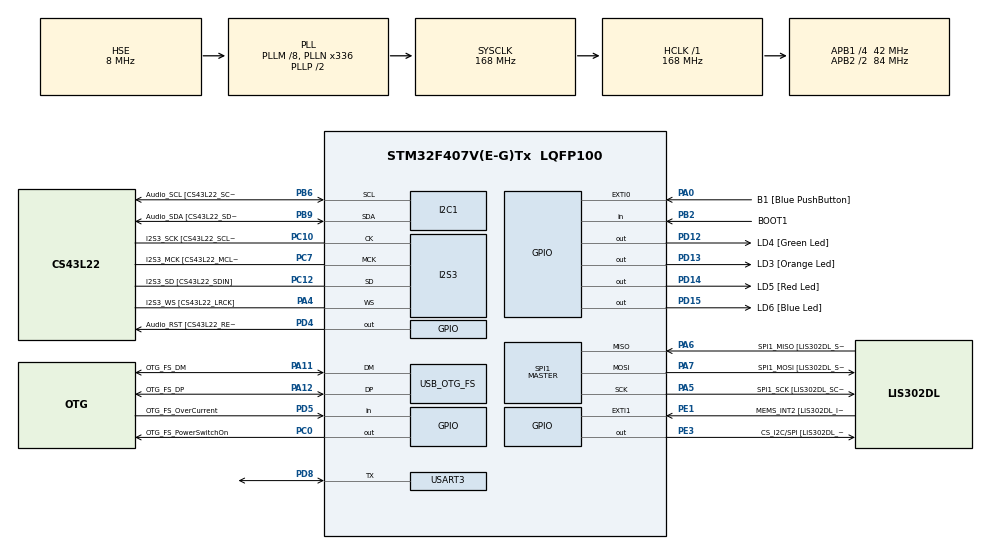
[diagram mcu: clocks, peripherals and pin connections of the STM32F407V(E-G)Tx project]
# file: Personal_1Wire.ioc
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Dma.Request0=USART3_RX
Dma.Request1=USART3_TX
Dma.USART3_RX.0.Direction=DMA_PERIPH_TO_MEMORY
Dma.USART3_RX.0.FIFOMode=DMA_FIFOMODE_DISABLE
Dma.USART3_RX.0.Instance=DMA1_Stream1
Dma.USART3_RX.0.MemDataAlignment=DMA_MDATAALIGN_BYTE
Dma.USART3_RX.0.MemInc=DMA_MINC_ENABLE
Dma.USART3_RX.0.Mode=DMA_NORMAL
Dma.USART3_RX.0.PeriphDataAlignment=DMA_PDATAALIGN_BYTE
Dma.USART3_RX.0.PeriphInc=DMA_PINC_DISABLE
Dma.USART3_RX.0.Priority=DMA_PRIORITY_LOW
Dma.USART3_TX.1.Direction=DMA_MEMORY_TO_PERIPH
Dma.USART3_TX.1.FIFOMode=DMA_FIFOMODE_DISABLE
Dma.USART3_TX.1.Instance=DMA1_Stream3
Dma.USART3_TX.1.MemDataAlignment=DMA_MDATAALIGN_BYTE
Dma.USART3_TX.1.MemInc=DMA_MINC_ENABLE
Dma.USART3_TX.1.Mode=DMA_NORMAL
Dma.USART3_TX.1.PeriphDataAlignment=DMA_PDATAALIGN_BYTE
Dma.USART3_TX.1.PeriphInc=DMA_PINC_DISABLE
Dma.USART3_TX.1.Priority=DMA_PRIORITY_LOW
FREERTOS.Tasks01=defaultTask,24,1024,StartDefaultTask,Default,NULL,Dynamic,NULL,NULL
FREERTOS.configUSE_NEWLIB_REENTRANT=1
I2S3.AudioFreq-Half_Duplex_Master=I2S_AUDIOFREQ_96K
I2S3.ErrorAudioFreq=-2.34 %
I2S3.ErrorAudioFreq-Half_Duplex_Master=0.8 %
I2S3.FullDuplexMode=I2S_FULLDUPLEXMODE_DISABLE
I2S3.Instance=SPI$Index
I2S3.RealAudioFreq=93.75 KHz
I2S3.RealAudioFreq-Half_Duplex_Master=96.774 KHz
I2S3.VirtualMode=I2S_MODE_MASTER
Mcu.Family=STM32F4
Mcu.Name=STM32F407V(E-G)Tx
Mcu.Package=LQFP100
NVIC.DMA1_Stream1_IRQn=true\:5\:0\:false\:false\:true\:true\:false\:true\:true
NVIC.DMA1_Stream3_IRQn=true\:5\:0\:false\:false\:true\:true\:false\:true\:true
NVIC.OTG_FS_IRQn=true\:5\:0\:true\:false\:true\:true\:true\:true\:true
NVIC.PriorityGroup=NVIC_PRIORITYGROUP_4
NVIC.TIM6_DAC_IRQn=true\:15\:0\:false\:false\:true\:false\:false\:true\:true
NVIC.TimeBase=TIM6_DAC_IRQn
NVIC.TimeBaseIP=TIM6
NVIC.USART3_IRQn=true\:5\:0\:false\:false\:true\:true\:true\:true\:true
PA0-WKUP.GPIO_Label=B1 [Blue PushButton]
PA0-WKUP.GPIO_ModeDefaultEXTI=GPIO_MODE_EVT_RISING
PA0-WKUP.GPIO_PuPd=GPIO_NOPULL
PA0-WKUP.Signal=GPXTI0
PA10.GPIO_Label=OTG_FS_ID
PA10.GPIO_Mode=GPIO_MODE_AF_PP
PA10.GPIO_PuPd=GPIO_NOPULL
PA10.GPIO_Speed=GPIO_SPEED_FREQ_LOW
PA10.Signal=USB_OTG_FS_ID
PA11.GPIO_Label=OTG_FS_DM
PA11.GPIO_Mode=GPIO_MODE_AF_PP
PA11.GPIO_PuPd=GPIO_NOPULL
PA11.GPIO_Speed=GPIO_SPEED_FREQ_LOW
PA11.Mode=Device_Only
PA11.Signal=USB_OTG_FS_DM
PA12.GPIO_Label=OTG_FS_DP
PA12.GPIO_Mode=GPIO_MODE_AF_PP
PA12.GPIO_PuPd=GPIO_NOPULL
PA12.GPIO_Speed=GPIO_SPEED_FREQ_LOW
PA12.Mode=Device_Only
PA12.Signal=USB_OTG_FS_DP
PA13.GPIO_Label=SWDIO
PA13.Mode=Serial_Wire
PA13.Signal=SYS_JTMS-SWDIO
PA14.GPIO_Label=SWCLK
PA14.Mode=Serial_Wire
PA14.Signal=SYS_JTCK-SWCLK
PA4.GPIO_Label=I2S3_WS [CS43L22_LRCK]
PA4.GPIO_Mode=GPIO_MODE_AF_PP
PA4.GPIO_PuPd=GPIO_NOPULL
PA4.GPIO_Speed=GPIO_SPEED_FREQ_LOW
PA4.Mode=Half_Duplex_Master
PA4.Signal=I2S3_WS
PA5.GPIO_Label=SPI1_SCK [LIS302DL_SCL/SPC]
PA5.GPIO_Mode=GPIO_MODE_AF_PP
PA5.GPIO_PuPd=GPIO_NOPULL
PA5.GPIO_Speed=GPIO_SPEED_FREQ_LOW
PA5.Mode=Full_Duplex_Master
PA5.Signal=SPI1_SCK
PA6.GPIO_Label=SPI1_MISO [LIS302DL_SDO]
PA6.GPIO_Mode=GPIO_MODE_AF_PP
PA6.GPIO_PuPd=GPIO_NOPULL
PA6.GPIO_Speed=GPIO_SPEED_FREQ_LOW
PA6.Mode=Full_Duplex_Master
PA6.Signal=SPI1_MISO
PA7.GPIO_Label=SPI1_MOSI [LIS302DL_SDA/SDI/SDO]
PA7.GPIO_Mode=GPIO_MODE_AF_PP
PA7.GPIO_PuPd=GPIO_NOPULL
PA7.GPIO_Speed=GPIO_SPEED_FREQ_LOW
PA7.Mode=Full_Duplex_Master
PA7.Signal=SPI1_MOSI
PA9.GPIO_Label=VBUS_FS
PA9.GPIO_Mode=GPIO_MODE_INPUT
PA9.GPIO_PuPd=GPIO_NOPULL
PA9.Signal=USB_OTG_FS_VBUS
PB10.GPIO_Label=CLK_IN [MP45DT02_CLK]
PB10.GPIO_Mode=GPIO_MODE_AF_PP
PB10.GPIO_PuPd=GPIO_NOPULL
PB10.GPIO_Speed=GPIO_SPEED_FREQ_LOW
PB10.Signal=I2S2_CK
PB2.GPIO_Label=BOOT1
PB2.GPIO_Mode=GPIO_MODE_INPUT
PB2.GPIO_PuPd=GPIO_NOPULL
PB2.Signal=GPIO_Input
PB3.GPIO_Label=SWO
PB3.Signal=SYS_JTDO-SWO
PB6.GPIO_Label=Audio_SCL [CS43L22_SCL]
PB6.GPIO_Mode=GPIO_MODE_AF_OD
PB6.GPIO_Pu=GPIO_PULLUP
PB6.GPIO_PuPd=GPIO_NOPULL
PB6.GPIO_Speed=GPIO_SPEED_FREQ_LOW
PB6.Mode=I2C
PB6.Signal=I2C1_SCL
PB9.GPIO_Label=Audio_SDA [CS43L22_SDA]
PB9.GPIO_Mode=GPIO_MODE_AF_OD
PB9.GPIO_Pu=GPIO_PULLUP
PB9.GPIO_PuPd=GPIO_NOPULL
PB9.GPIO_Speed=GPIO_SPEED_FREQ_LOW
PB9.Mode=I2C
PB9.Signal=I2C1_SDA
PC0.GPIO_Label=OTG_FS_PowerSwitchOn
PC0.GPIO_PuPd=GPIO_NOPULL
PC0.GPIO_Speed=GPIO_SPEED_FREQ_LOW
PC0.PinState=GPIO_PIN_SET
PC0.Signal=GPIO_Output
PC10.GPIO_Label=I2S3_SCK [CS43L22_SCLK]
PC10.GPIO_Mode=GPIO_MODE_AF_PP
PC10.GPIO_PuPd=GPIO_NOPULL
PC10.GPIO_Speed=GPIO_SPEED_FREQ_LOW
PC10.Mode=Half_Duplex_Master
PC10.Signal=I2S3_CK
PC12.GPIO_Label=I2S3_SD [CS43L22_SDIN]
PC12.GPIO_Mode=GPIO_MODE_AF_PP
PC12.GPIO_PuPd=GPIO_NOPULL
PC12.GPIO_Speed=GPIO_SPEED_FREQ_LOW
PC12.Mode=Half_Duplex_Master
PC12.Signal=I2S3_SD
PC14-OSC32_IN.GPIO_Label=PC14-OSC32_IN
PC14-OSC32_IN.Mode=LSE-External-Oscillator
PC14-OSC32_IN.Signal=RCC_OSC32_IN
PC15-OSC32_OUT.GPIO_Label=PC15-OSC32_OUT
PC15-OSC32_OUT.Mode=LSE-External-Oscillator
PC15-OSC32_OUT.Signal=RCC_OSC32_OUT
PC3.GPIO_Label=PDM_OUT [MP45DT02_DOUT]
PC3.GPIO_Mode=GPIO_MODE_AF_PP
PC3.GPIO_PuPd=GPIO_NOPULL
PC3.GPIO_Speed=GPIO_SPEED_FREQ_LOW
PC3.Signal=I2S2_SD
PC7.GPIO_Label=I2S3_MCK [CS43L22_MCLK]
PC7.GPIO_Mode=GPIO_MODE_AF_PP
PC7.GPIO_PuPd=GPIO_NOPULL
PC7.GPIO_Speed=GPIO_SPEED_FREQ_LOW
PC7.Mode=Master_Clock_Activated
PC7.Signal=I2S3_MCK
PD12.GPIO_Label=LD4 [Green Led]
PD12.GPIO_PuPd=GPIO_NOPULL
PD12.GPIO_Speed=GPIO_SPEED_FREQ_LOW
PD12.Signal=GPIO_Output
PD13.GPIO_Label=LD3 [Orange Led]
PD13.GPIO_PuPd=GPIO_NOPULL
PD13.GPIO_Speed=GPIO_SPEED_FREQ_LOW
PD13.Signal=GPIO_Output
PD14.GPIO_Label=LD5 [Red Led]
PD14.GPIO_PuPd=GPIO_NOPULL
PD14.GPIO_Speed=GPIO_SPEED_FREQ_LOW
PD14.Signal=GPIO_Output
PD15.GPIO_Label=LD6 [Blue Led]
PD15.GPIO_PuPd=GPIO_NOPULL
PD15.GPIO_Speed=GPIO_SPEED_FREQ_LOW
PD15.Signal=GPIO_Output
PD4.GPIO_Label=Audio_RST [CS43L22_RESET]
PD4.GPIO_PuPd=GPIO_NOPULL
PD4.GPIO_Speed=GPIO_SPEED_FREQ_LOW
PD4.Signal=GPIO_Output
PD5.GPIO_Label=OTG_FS_OverCurrent
PD5.GPIO_Mode=GPIO_MODE_INPUT
PD5.GPIO_PuPd=GPIO_NOPULL
PD5.Signal=GPIO_Input
PD8.Mode=Half_duplex(single_wire_mode)
PD8.Signal=USART3_TX
PD9.Signal=USART3_RX
PE1.GPIO_Label=MEMS_INT2 [LIS302DL_INT2]
PE1.GPIO_ModeDefaultEXTI=GPIO_MODE_EVT_RISING
PE1.GPIO_PuPd=GPIO_NOPULL
PE1.Signal=GPXTI1
PE3.GPIO_Label=CS_I2C/SPI [LIS302DL_CS_I2C/SPI]
PE3.GPIO_PuPd=GPIO_NOPULL
PE3.GPIO_Speed=GPIO_SPEED_FREQ_LOW
PE3.Signal=GPIO_Output
PH0-OSC_IN.GPIO_Label=PH0-OSC_IN
PH0-OSC_IN.Mode=HSE-External-Oscillator
PH0-OSC_IN.Signal=RCC_OSC_IN
PH1-OSC_OUT.GPIO_Label=PH1-OSC_OUT
PH1-OSC_OUT.Mode=HSE-External-Oscillator
PH1-OSC_OUT.Signal=RCC_OSC_OUT
ProjectManager.HeapSize=0x1000
ProjectManager.StackSize=0x1000
ProjectManager.TargetToolchain=STM32CubeIDE
RCC.48MHZClocksFreq_Value=48000000
RCC.AHBFreq_Value=168000000
RCC.APB1CLKDivider=RCC_HCLK_DIV4
RCC.APB1Freq_Value=42000000
RCC.APB1TimFreq_Value=84000000
RCC.APB2CLKDivider=RCC_HCLK_DIV2
RCC.APB2Freq_Value=84000000
RCC.APB2TimFreq_Value=168000000
RCC.CortexFreq_Value=168000000
RCC.HCLKFreq_Value=168000000
RCC.HSE_VALUE=8000000
RCC.HSI_VALUE=16000000
RCC.PLLM=8
RCC.PLLN=336
RCC.PLLQ=7
RCC.SYSCLKFreq_VALUE=168000000
RCC.SYSCLKSource=RCC_SYSCLKSOURCE_PLLCLK
RCC.VCOOutputFreq_Value=336000000
SPI1.BaudRatePrescaler-Full_Duplex_Master=SPI_BAUDRATEPRESCALER_2
SPI1.CalculateBaudRate-Full_Duplex_Master=42.0 MBits/s
SPI1.Direction=SPI_DIRECTION_2LINES
SPI1.Mode=SPI_MODE_MASTER
SPI1.Mode-Full_Duplex_Master=SPI_MODE_MASTER
SPI1.VirtualType=VM_MASTER
USART3.VirtualMode=VM_ASYNC
USB_DEVICE.CLASS_NAME_FS=CDC
USB_DEVICE.VirtualMode-CDC_FS=Cdc
USB_DEVICE.VirtualModeFS=Cdc_FS
USB_OTG_FS.VirtualMode=Device_Only
VP_FREERTOS_VS_CMSIS_V2.Mode=CMSIS_V2
VP_SYS_VS_tim6.Mode=TIM6
VP_USB_DEVICE_VS_USB_DEVICE_CDC_FS.Mode=CDC_FS
board=STM32F407G-DISC1

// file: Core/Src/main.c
/* USER CODE BEGIN Header */
/**
  ******************************************************************************
  * @file           : main.c
  * @brief          : Main program body
  ******************************************************************************
  * @attention
  *
  * Copyright (c) 2026 STMicroelectronics.
  * All rights reserved.
  *
  * This software is licensed under terms that can be found in the LICENSE file
  * in the root directory of this software component.
  * If no LICENSE file comes with this software, it is provided AS-IS.
  *
  ******************************************************************************
  */
/* USER CODE END Header */
#include "main.h"
#include "cmsis_os.h"
#include "usb_device.h"

/* USER CODE BEGIN Includes */
#include "lwow/lwow.h"
#include "lwow/devices/lwow_device_ds18x20.h"
#include <stdio.h>
#include <stdarg.h>
#include "usbd_cdc_if.h"
#include "FreeRTOS.h"
#include "semphr.h"
/* USER CODE END Includes */

I2C_HandleTypeDef hi2c1;

I2S_HandleTypeDef hi2s3;

SPI_HandleTypeDef hspi1;

UART_HandleTypeDef huart3;
DMA_HandleTypeDef hdma_usart3_rx;
DMA_HandleTypeDef hdma_usart3_tx;

/* Definitions for defaultTask */
osThreadId_t defaultTaskHandle;
const osThreadAttr_t defaultTask_attributes = {
  .name = "defaultTask",
  .stack_size = 1024 * 4,
  .priority = (osPriority_t) osPriorityNormal,
};
/* USER CODE BEGIN PV */
lwow_t ow_handle;

extern const lwow_ll_drv_t lwow_ll_drv_stm32_hal;

SemaphoreHandle_t smphrHandle;
/* USER CODE END PV */

void SystemClock_Config(void);
static void MX_GPIO_Init(void);
static void MX_DMA_Init(void);
static void MX_I2C1_Init(void);
static void MX_I2S3_Init(void);
static void MX_SPI1_Init(void);
static void MX_USART3_UART_Init(void);
void StartDefaultTask(void *argument);

/* USER CODE BEGIN 0 */
# define LOG_BUFFER_SIZE 128
 uint8_t buf[LOG_BUFFER_SIZE];
void vPrintSerial ( const char* format , ...){
	va_list ap;
	va_start(ap , format );
	size_t len = vsnprintf(( char *) buf , sizeof (buf) , format , ap );
	va_end(ap );
	if ( len > sizeof(buf) - 1)len = sizeof(buf) - 1;
	CDC_Transmit_FS(buf , len );
/* Send string to serial interface */
	}
/* USER CODE END 0 */

int main(void)
{

  /* MCU Configuration--------------------------------------------------------*/

  /* Reset of all peripherals, Initializes the Flash interface and the Systick. */
  HAL_Init();

  /* Configure the system clock */
  SystemClock_Config();

  /* Initialize all configured peripherals */
  MX_GPIO_Init();
  MX_DMA_Init();
  MX_I2C1_Init();
  MX_I2S3_Init();
  MX_SPI1_Init();
  MX_USART3_UART_Init();
  /* USER CODE BEGIN 2 */
  //lwow_t ow_handle;          // structura centrala de gestionare a magistralei

  //lwow_init(&ow_handle, &huart3); //leaga bibliotecele LwOW cu perifericul USART3

  // 1. Creăm semaforul binar necesar pentru blocarea/deblocarea task-ului
  smphrHandle = osSemaphoreNew(1, 0, NULL);

  // 2. Inițializăm LwOW pasând și driver-ul hardware STM32 (lwow_ll_drv_stm32)
  lwow_init(&ow_handle, &lwow_ll_drv_stm32_hal, &huart3);

  /* USER CODE END 2 */

  /* Init scheduler */
  osKernelInitialize();

  /* Create the thread(s) */
  /* creation of defaultTask */
  defaultTaskHandle = osThreadNew(StartDefaultTask, NULL, &defaultTask_attributes);

  /* Start scheduler */
  osKernelStart();

  /* We should never get here as control is now taken by the scheduler */

  /* Infinite loop */
  /* USER CODE BEGIN WHILE */

  //uint32_t cnt = 0;
  //float temperatura_celsius = 0;
  //char buffer_mesaj[64]; // Am adăugat  pentru a aloca memorie pentru un text lung

  while (1)
  {
    /* USER CODE END WHILE */

    /* USER CODE BEGIN 3 */
	  //vPrintSerial("Iteration:%d\n", ++cnt);
	  //HAL_Delay(1000) ;
	  /*
      if (lwow_ds18x20_start(&ow_handle, NULL) == 1) {
          osDelay(750);

          if (lwow_ds18x20_read_raw(&ow_handle, NULL, &temperatura_celsius) == 1) {
              int lungime = sprintf(buffer_mesaj, "Temperatura: %.2f C\r\n", temperatura_celsius);
              CDC_Transmit_FS((uint8_t*)buffer_mesaj, lungime);

          }
      }
      osDelay(1000); */

  }
  /* USER CODE END 3 */
}

void SystemClock_Config(void)
{
  RCC_OscInitTypeDef RCC_OscInitStruct = {0};
  RCC_ClkInitTypeDef RCC_ClkInitStruct = {0};

  /** Configure the main internal regulator output voltage
  */
  __HAL_RCC_PWR_CLK_ENABLE();
  __HAL_PWR_VOLTAGESCALING_CONFIG(PWR_REGULATOR_VOLTAGE_SCALE1);

  /** Initializes the RCC Oscillators according to the specified parameters
  * in the RCC_OscInitTypeDef structure.
  */
  RCC_OscInitStruct.OscillatorType = RCC_OSCILLATORTYPE_HSE;
  RCC_OscInitStruct.HSEState = RCC_HSE_ON;
  RCC_OscInitStruct.PLL.PLLState = RCC_PLL_ON;
  RCC_OscInitStruct.PLL.PLLSource = RCC_PLLSOURCE_HSE;
  RCC_OscInitStruct.PLL.PLLM = 8;
  RCC_OscInitStruct.PLL.PLLN = 336;
  RCC_OscInitStruct.PLL.PLLP = RCC_PLLP_DIV2;
  RCC_OscInitStruct.PLL.PLLQ = 7;
  if (HAL_RCC_OscConfig(&RCC_OscInitStruct) != HAL_OK)
  {
    Error_Handler();
  }

  /** Initializes the CPU, AHB and APB buses clocks
  */
  RCC_ClkInitStruct.ClockType = RCC_CLOCKTYPE_HCLK|RCC_CLOCKTYPE_SYSCLK
                              |RCC_CLOCKTYPE_PCLK1|RCC_CLOCKTYPE_PCLK2;
  RCC_ClkInitStruct.SYSCLKSource = RCC_SYSCLKSOURCE_PLLCLK;
  RCC_ClkInitStruct.AHBCLKDivider = RCC_SYSCLK_DIV1;
  RCC_ClkInitStruct.APB1CLKDivider = RCC_HCLK_DIV4;
  RCC_ClkInitStruct.APB2CLKDivider = RCC_HCLK_DIV2;

  if (HAL_RCC_ClockConfig(&RCC_ClkInitStruct, FLASH_LATENCY_5) != HAL_OK)
  {
    Error_Handler();
  }
}

static void MX_I2C1_Init(void)
{

  hi2c1.Instance = I2C1;
  hi2c1.Init.ClockSpeed = 100000;
  hi2c1.Init.DutyCycle = I2C_DUTYCYCLE_2;
  hi2c1.Init.OwnAddress1 = 0;
  hi2c1.Init.AddressingMode = I2C_ADDRESSINGMODE_7BIT;
  hi2c1.Init.DualAddressMode = I2C_DUALADDRESS_DISABLE;
  hi2c1.Init.OwnAddress2 = 0;
  hi2c1.Init.GeneralCallMode = I2C_GENERALCALL_DISABLE;
  hi2c1.Init.NoStretchMode = I2C_NOSTRETCH_DISABLE;
  if (HAL_I2C_Init(&hi2c1) != HAL_OK)
  {
    Error_Handler();
  }

}

static void MX_I2S3_Init(void)
{

  hi2s3.Instance = SPI3;
  hi2s3.Init.Mode = I2S_MODE_MASTER_TX;
  hi2s3.Init.Standard = I2S_STANDARD_PHILIPS;
  hi2s3.Init.DataFormat = I2S_DATAFORMAT_16B;
  hi2s3.Init.MCLKOutput = I2S_MCLKOUTPUT_ENABLE;
  hi2s3.Init.AudioFreq = I2S_AUDIOFREQ_96K;
  hi2s3.Init.CPOL = I2S_CPOL_LOW;
  hi2s3.Init.ClockSource = I2S_CLOCK_PLL;
  hi2s3.Init.FullDuplexMode = I2S_FULLDUPLEXMODE_DISABLE;
  if (HAL_I2S_Init(&hi2s3) != HAL_OK)
  {
    Error_Handler();
  }

}

static void MX_SPI1_Init(void)
{

  /* SPI1 parameter configuration*/
  hspi1.Instance = SPI1;
  hspi1.Init.Mode = SPI_MODE_MASTER;
  hspi1.Init.Direction = SPI_DIRECTION_2LINES;
  hspi1.Init.DataSize = SPI_DATASIZE_8BIT;
  hspi1.Init.CLKPolarity = SPI_POLARITY_LOW;
  hspi1.Init.CLKPhase = SPI_PHASE_1EDGE;
  hspi1.Init.NSS = SPI_NSS_SOFT;
  hspi1.Init.BaudRatePrescaler = SPI_BAUDRATEPRESCALER_2;
  hspi1.Init.FirstBit = SPI_FIRSTBIT_MSB;
  hspi1.Init.TIMode = SPI_TIMODE_DISABLE;
  hspi1.Init.CRCCalculation = SPI_CRCCALCULATION_DISABLE;
  hspi1.Init.CRCPolynomial = 10;
  if (HAL_SPI_Init(&hspi1) != HAL_OK)
  {
    Error_Handler();
  }

}

static void MX_USART3_UART_Init(void)
{

  huart3.Instance = USART3;
  huart3.Init.BaudRate = 115200;
  huart3.Init.WordLength = UART_WORDLENGTH_8B;
  huart3.Init.StopBits = UART_STOPBITS_1;
  huart3.Init.Parity = UART_PARITY_NONE;
  huart3.Init.Mode = UART_MODE_TX_RX;
  huart3.Init.HwFlowCtl = UART_HWCONTROL_NONE;
  huart3.Init.OverSampling = UART_OVERSAMPLING_16;
  if (HAL_HalfDuplex_Init(&huart3) != HAL_OK)
  {
    Error_Handler();
  }

}

static void MX_DMA_Init(void)
{

  /* DMA controller clock enable */
  __HAL_RCC_DMA1_CLK_ENABLE();

  /* DMA interrupt init */
  /* DMA1_Stream1_IRQn interrupt configuration */
  HAL_NVIC_SetPriority(DMA1_Stream1_IRQn, 5, 0);
  HAL_NVIC_EnableIRQ(DMA1_Stream1_IRQn);
  /* DMA1_Stream3_IRQn interrupt configuration */
  HAL_NVIC_SetPriority(DMA1_Stream3_IRQn, 5, 0);
  HAL_NVIC_EnableIRQ(DMA1_Stream3_IRQn);

}

static void MX_GPIO_Init(void)
{
  GPIO_InitTypeDef GPIO_InitStruct = {0};

  /* GPIO Ports Clock Enable */
  __HAL_RCC_GPIOE_CLK_ENABLE();
  __HAL_RCC_GPIOC_CLK_ENABLE();
  __HAL_RCC_GPIOH_CLK_ENABLE();
  __HAL_RCC_GPIOA_CLK_ENABLE();
  __HAL_RCC_GPIOB_CLK_ENABLE();
  __HAL_RCC_GPIOD_CLK_ENABLE();

  /*Configure GPIO pin Output Level */
  HAL_GPIO_WritePin(CS_I2C_SPI_GPIO_Port, CS_I2C_SPI_Pin, GPIO_PIN_RESET);

  /*Configure GPIO pin Output Level */
  HAL_GPIO_WritePin(OTG_FS_PowerSwitchOn_GPIO_Port, OTG_FS_PowerSwitchOn_Pin, GPIO_PIN_SET);

  /*Configure GPIO pin Output Level */
  HAL_GPIO_WritePin(GPIOD, LD4_Pin|LD3_Pin|LD5_Pin|LD6_Pin
                          |Audio_RST_Pin, GPIO_PIN_RESET);

  /*Configure GPIO pin : CS_I2C_SPI_Pin */
  GPIO_InitStruct.Pin = CS_I2C_SPI_Pin;
  GPIO_InitStruct.Mode = GPIO_MODE_OUTPUT_PP;
  GPIO_InitStruct.Pull = GPIO_NOPULL;
  GPIO_InitStruct.Speed = GPIO_SPEED_FREQ_LOW;
  HAL_GPIO_Init(CS_I2C_SPI_GPIO_Port, &GPIO_InitStruct);

  /*Configure GPIO pin : OTG_FS_PowerSwitchOn_Pin */
  GPIO_InitStruct.Pin = OTG_FS_PowerSwitchOn_Pin;
  GPIO_InitStruct.Mode = GPIO_MODE_OUTPUT_PP;
  GPIO_InitStruct.Pull = GPIO_NOPULL;
  GPIO_InitStruct.Speed = GPIO_SPEED_FREQ_LOW;
  HAL_GPIO_Init(OTG_FS_PowerSwitchOn_GPIO_Port, &GPIO_InitStruct);

  /*Configure GPIO pin : PDM_OUT_Pin */
  GPIO_InitStruct.Pin = PDM_OUT_Pin;
  GPIO_InitStruct.Mode = GPIO_MODE_AF_PP;
  GPIO_InitStruct.Pull = GPIO_NOPULL;
  GPIO_InitStruct.Speed = GPIO_SPEED_FREQ_LOW;
  GPIO_InitStruct.Alternate = GPIO_AF5_SPI2;
  HAL_GPIO_Init(PDM_OUT_GPIO_Port, &GPIO_InitStruct);

  /*Configure GPIO pin : B1_Pin */
  GPIO_InitStruct.Pin = B1_Pin;
  GPIO_InitStruct.Mode = GPIO_MODE_EVT_RISING;
  GPIO_InitStruct.Pull = GPIO_NOPULL;
  HAL_GPIO_Init(B1_GPIO_Port, &GPIO_InitStruct);

  /*Configure GPIO pin : BOOT1_Pin */
  GPIO_InitStruct.Pin = BOOT1_Pin;
  GPIO_InitStruct.Mode = GPIO_MODE_INPUT;
  GPIO_InitStruct.Pull = GPIO_NOPULL;
  HAL_GPIO_Init(BOOT1_GPIO_Port, &GPIO_InitStruct);

  /*Configure GPIO pin : CLK_IN_Pin */
  GPIO_InitStruct.Pin = CLK_IN_Pin;
  GPIO_InitStruct.Mode = GPIO_MODE_AF_PP;
  GPIO_InitStruct.Pull = GPIO_NOPULL;
  GPIO_InitStruct.Speed = GPIO_SPEED_FREQ_LOW;
  GPIO_InitStruct.Alternate = GPIO_AF5_SPI2;
  HAL_GPIO_Init(CLK_IN_GPIO_Port, &GPIO_InitStruct);

  /*Configure GPIO pins : LD4_Pin LD3_Pin LD5_Pin LD6_Pin
                           Audio_RST_Pin */
  GPIO_InitStruct.Pin = LD4_Pin|LD3_Pin|LD5_Pin|LD6_Pin
                          |Audio_RST_Pin;
  GPIO_InitStruct.Mode = GPIO_MODE_OUTPUT_PP;
  GPIO_InitStruct.Pull = GPIO_NOPULL;
  GPIO_InitStruct.Speed = GPIO_SPEED_FREQ_LOW;
  HAL_GPIO_Init(GPIOD, &GPIO_InitStruct);

  /*Configure GPIO pin : OTG_FS_OverCurrent_Pin */
  GPIO_InitStruct.Pin = OTG_FS_OverCurrent_Pin;
  GPIO_InitStruct.Mode = GPIO_MODE_INPUT;
  GPIO_InitStruct.Pull = GPIO_NOPULL;
  HAL_GPIO_Init(OTG_FS_OverCurrent_GPIO_Port, &GPIO_InitStruct);

  /*Configure GPIO pin : MEMS_INT2_Pin */
  GPIO_InitStruct.Pin = MEMS_INT2_Pin;
  GPIO_InitStruct.Mode = GPIO_MODE_EVT_RISING;
  GPIO_InitStruct.Pull = GPIO_NOPULL;
  HAL_GPIO_Init(MEMS_INT2_GPIO_Port, &GPIO_InitStruct);

}

/* USER CODE BEGIN 4 */

/* Rutina apelată de subsistemul abstract de operare HAL pe fond de hardware cand fluxul de la memorie spre periferic a atins numărătoarea zerotronică (0) */

/* Required external linkage declarations in main.c */
/*
extern void lwow_ll_usart_tx_isr(UART_HandleTypeDef *huart);
extern void lwow_ll_usart_rx_isr(UART_HandleTypeDef *huart);
*/
/* Implementation of the HAL callbacks */
/*
void HAL_UART_TxCpltCallback(UART_HandleTypeDef *huart) {
    if (huart->Instance == USART3) { // Ensure the callback targets the correct peripheral
        lwow_ll_usart_tx_isr(huart);
    }
}

void HAL_UART_RxCpltCallback(UART_HandleTypeDef *huart) {
    if (huart->Instance == USART3) {
        lwow_ll_usart_rx_isr(huart);
    }
}
*/
/*
// Aceste funcții sunt apelate automat de HAL când DMA-ul își termină treaba
void HAL_UART_TxCpltCallback(UART_HandleTypeDef *huart) {
    if (huart->Instance == USART3) {
        // Apelează funcția de notificare TX din LwOW LL (verifică denumirea exactă în lwow_ll_stm32_hal.c)
        // Exemplu generic (depinde de versiunea LwOW folosită):
        lwow_ll_usart_tx_isr(huart);
    }
}

void HAL_UART_RxCpltCallback(UART_HandleTypeDef *huart) {
    if (huart->Instance == USART3) {
        // Apelează funcția de notificare RX din LwOW LL
        lwow_ll_usart_rx_isr(huart);
    }
}
*/
/* USER CODE END 4 */

void StartDefaultTask(void *argument)
{
  /* init code for USB_DEVICE */
  MX_USB_DEVICE_Init();
  /* USER CODE BEGIN 5 */

  lwow_rom_t target_sensor;
  /* Buffer for formatting Virtual COM port transmissions */
     char transmission_buffer[90];
     osDelay(pdMS_TO_TICKS(3000));
     /* 1. Hardware Driver Initialization - Correctly passing driver by reference */
     while (lwow_init(&ow_handle, &lwow_ll_drv_stm32_hal, &huart3)!= lwowOK) {
             char *err_init = "Fatal: LwOW UART Initialization Failed. Retrying...\r\n";
             while (CDC_Transmit_FS((uint8_t*)err_init, strlen(err_init)) == USBD_BUSY) {
                 osDelay(pdMS_TO_TICKS(1));
             }
             osDelay(pdMS_TO_TICKS(1000)); /* Retry every 1 second instead of suspending */
     }

     /* 2. Topology Discovery - Utilizing the modernized stateful search API */
     lwow_search_reset(&ow_handle);
         while (lwow_search(&ow_handle, &target_sensor)!= lwowOK) {
             char *err_search = "Error: No DS18B20 Detected. Check wiring/pull-up. Retrying...\r\n";
             while (CDC_Transmit_FS((uint8_t*)err_search, strlen(err_search)) == USBD_BUSY) {
                 osDelay(pdMS_TO_TICKS(1));
             }
             osDelay(pdMS_TO_TICKS(1000)); /* Retry every 1 second instead of suspending */
             lwow_search_reset(&ow_handle);
         }
     //t<rget sensor found
     char *msg_found = "Success: DS18B20 Detected! Starting telemetry...\r\n";
             while (CDC_Transmit_FS((uint8_t*)msg_found, strlen(msg_found)) == USBD_BUSY) {
                 osDelay(pdMS_TO_TICKS(1));
             }

     /* 3. Thread Telemetry Variables */
     float current_temp = 0;
     uint32_t iteration_counter = 0;

     /* 4. Deterministic, Non-Blocking Operational Loop */
     for(;;)
         {
             /* Broadcast the Convert T Command to the sensor network */
             if (lwow_ds18x20_start(&ow_handle, NULL) == 1) {

                 /* Yield the execution context for the duration of the ADC processing (750ms) */
                 osDelay(pdMS_TO_TICKS(750));

                 /* Secure thread-safe retrieval of the converted memory scratchpad */
                 if (lwow_ds18x20_read(&ow_handle, &target_sensor, &current_temp) == 1) {

                     iteration_counter++;

                     /* Serialize output including iteration counter */
                     int len = snprintf(transmission_buffer, sizeof(transmission_buffer),
                                        "[%lu] DS18B20 Temperature: %.2f C\r\n",
                                        iteration_counter, current_temp);

                     /* Dispatch the USB CDC data transfer safely handling USBD_BUSY */
                     while (CDC_Transmit_FS((uint8_t*)transmission_buffer, len) == USBD_BUSY) {
                         osDelay(pdMS_TO_TICKS(1));
                     }

                 } else {
                     char *err_read = "Warning: DS18B20 Read Failure or CRC Mismatch.\r\n";
                     while (CDC_Transmit_FS((uint8_t*)err_read, strlen(err_read)) == USBD_BUSY) {
                         osDelay(pdMS_TO_TICKS(1));
                     }
                 }
             } else {
                 /* Conversion start command failed; attempt a short recovery delay */
                 osDelay(pdMS_TO_TICKS(100));
             }

             /* Regulate the overall sampling rate loop */
             osDelay(pdMS_TO_TICKS(250));
         }

  /*
  // Instanțiem structurile de bază pentru 1-Wire
    lwow_t ow;
    lwow_rom_t rom_id; // Adresa unică pe 64-biți a senzorului
    lwow_rom_t target_rom_id;
    uint8_t devices_found = 0;
    float temperature = 0.0f;

    // 1. Inițializăm biblioteca LwOW (îi pasăm structura și un pointer către driver-ul low-level)
    // Parametrii pot varia ușor în funcție de versiunea LwOW instalată
    //lwow_init(&ow, lwow_ll_drv_stm32_hal, &huart3);
    if (lwow_init(&ow, &lwow_ll_drv_stm32_hal, &huart3)!= lwowOK) {
        // Implement robust fault handling for initialization failure
    }
    lwow_search_reset(&ow);
    // 2. Căutăm primul senzor de pe magistrală
    // Dacă returnează 1, a găsit cu succes un senzor și i-a salvat adresa în `rom_id`
    if (lwow_search(&ow, &target_rom_id) == lwowOK){
        devices_found = 1;
        vPrintSerial("Senzor DS18B20 gasit!\r\n");
    } else {
        vPrintSerial("Eroare: Niciun senzor detectat. Verifica rezistenta de pull-up!\r\n");
    }

    uint32_t cnt = 0;

    // Infinite loop
    for(;;)
    {
      cnt++;

      if (devices_found) {
          // 3. Trimitem comanda către senzor să înceapă conversia temperaturii
          // Transmisia se face complet în background via DMA
          if (lwow_ds18x20_start(&ow, &rom_id) == 1) {

              osDelay(750);
          	  // 4. Așteptăm ca DS18B20 să termine măsurătoarea (Max 750 ms pt 12-bit)
          	  // Aici CPU-ul se duce să rezolve alte task-uri (ex: animații ecran, pachete rețea)

              // 5. Citim valoarea (Datele vin din senzor tot via DMA)
              if (lwow_ds18x20_read(&ow, &rom_id, &temperature) == 1) {
                  vPrintSerial("Iteratia: %lu | Temp: %.2f C\r\n", cnt, temperature);
              } else {
                  vPrintSerial("Eroare la citirea memoriei Scratchpad!\r\n");
              }
          } else {
              vPrintSerial("Senzorul nu a raspuns la comanda de conversie.\r\n");
          }
      } else {
          vPrintSerial("Iteratia: %lu | Astept conectarea senzorului...\r\n", cnt);
      }

      // Delay general al buclei pentru cadență (ex. 1 citire la fiecare ~2 secunde)
      osDelay(1000);
    }

  uint32_t cnt = 0;
  float temperatura_celsius = 0;
  char buffer_mesaj[64]; // Am adăugat  pentru a aloca memorie pentru un text lung

  for(;;){
  	  vPrintSerial("Iteration:%d\n", ++cnt);
  	  HAL_Delay(1000) ;

      if (lwow_ds18x20_start(&ow_handle, NULL) == 1) {
          osDelay(750);

          if (lwow_ds18x20_read_raw(&ow_handle, NULL, &temperatura_celsius) == 1) {
              int lungime = sprintf(buffer_mesaj, "Temperatura: %.2f C\r\n", temperatura_celsius);
              CDC_Transmit_FS((uint8_t*)buffer_mesaj, lungime);

          }
      }
      osDelay(1000);*/

  /* USER CODE END 5 */
}

void HAL_TIM_PeriodElapsedCallback(TIM_HandleTypeDef *htim)
{
  if (htim->Instance == TIM6)
  {
    HAL_IncTick();
  }
}

void Error_Handler(void)
{
  __disable_irq();
  while (1)
  {
  }
}
